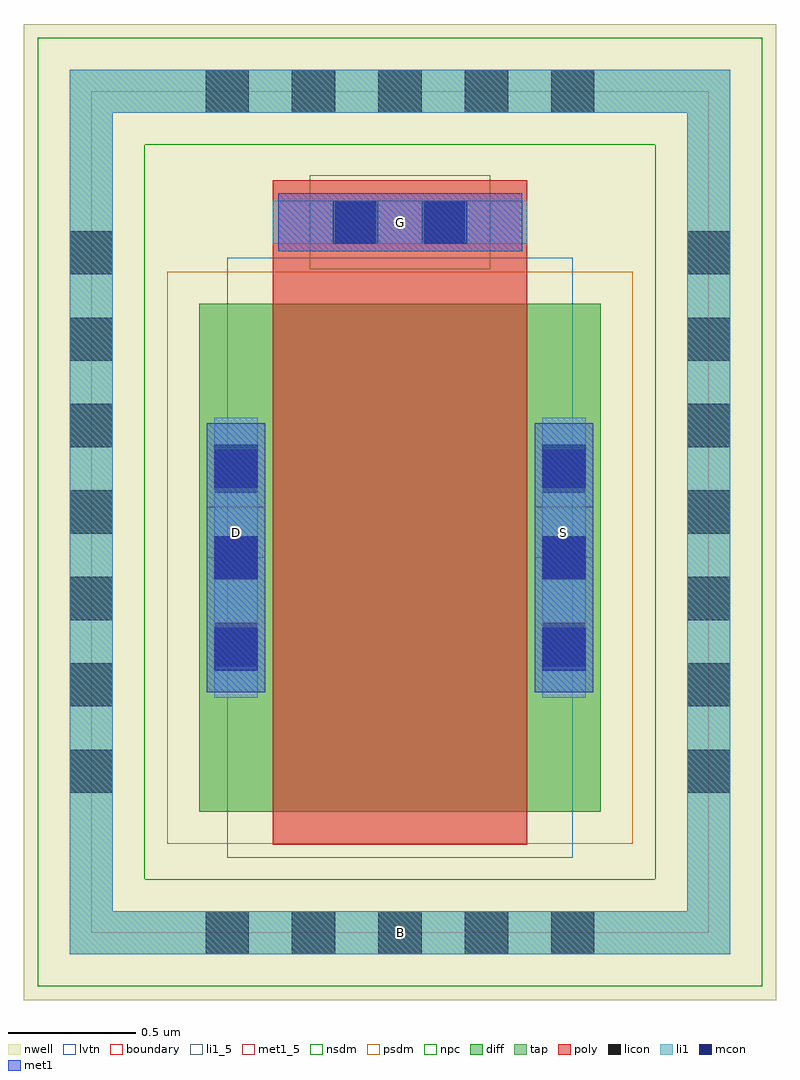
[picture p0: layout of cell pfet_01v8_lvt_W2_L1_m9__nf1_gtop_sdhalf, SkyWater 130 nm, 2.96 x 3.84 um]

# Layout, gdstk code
import gdstk
lib = gdstk.Library(unit=1e-6, precision=1e-09)
def R(c, l, rs):  # rectangles x0, y0, x1, y1
    for r in rs: c.add(gdstk.rectangle(r[:2], r[2:], *l))
def A(c, l, x, y, w, h, nx, ny, dx, dy):  # array of equal rectangles
    R(c, l, [(x+i*dx, y+j*dy, x+i*dx+w, y+j*dy+h) for i in range(nx) for j in range(ny)])
nwell = (64, 20)
diff = (65, 20)
tap = (65, 44)
poly = (66, 20)
licon = (66, 44)
li1_5 = (67, 5)
li1 = (67, 20)
mcon = (67, 44)
met1_5 = (68, 5)
met1 = (68, 20)
nsdm = (93, 44)
psdm = (94, 20)
npc = (95, 20)
lvtn = (125, 44)
boundary = (235, 4)

sky130_fd_pr__pfet_01v8_ = lib.new_cell('sky130_fd_pr__pfet_01v8_lvt_NWM626')
R(sky130_fd_pr__pfet_01v8_, nwell, [(-1.48,-1.92,1.48,1.92)])
R(sky130_fd_pr__pfet_01v8_, diff, [(-0.79,-1.18,0.79,0.82)])
R(sky130_fd_pr__pfet_01v8_, tap, [(-1.3,-1.74,1.3,-1.57), (-1.3,-1.57,-1.13,1.57), (1.13,-1.57,1.3,1.57), (-1.3,1.57,1.3,1.74)])
R(sky130_fd_pr__pfet_01v8_, poly, [(-0.5,-1.31,0.5,1.305)])
A(sky130_fd_pr__pfet_01v8_, licon, -0.765, -1.74, 0.17, 0.17, 5, 2, 0.34, 3.31)
A(sky130_fd_pr__pfet_01v8_, licon, -1.3, -1.105, 0.17, 0.17, 1, 7, 0, 0.34)
A(sky130_fd_pr__pfet_01v8_, licon, 1.13, -1.105, 0.17, 0.17, 1, 7, 0, 0.34)
A(sky130_fd_pr__pfet_01v8_, licon, -0.73, -0.605, 0.17, 0.17, 1, 3, 0, 0.34)
A(sky130_fd_pr__pfet_01v8_, licon, 0.56, -0.605, 0.17, 0.17, 1, 3, 0, 0.34)
R(sky130_fd_pr__pfet_01v8_, licon, [(-0.255,1.055,-0.085,1.225), (0.085,1.055,0.255,1.225)])
R(sky130_fd_pr__pfet_01v8_, li1, [(-1.3,-1.74,1.3,-1.57), (-1.3,-1.57,-1.13,1.57), (1.13,-1.57,1.3,1.57), (-0.73,-0.73,-0.56,0.37), (0.56,-0.73,0.73,0.37), (-0.5,1.055,0.5,1.225), (-1.3,1.57,1.3,1.74)])
A(sky130_fd_pr__pfet_01v8_, mcon, -0.73, -0.625, 0.17, 0.17, 1, 3, 0, 0.36)
A(sky130_fd_pr__pfet_01v8_, mcon, 0.56, -0.625, 0.17, 0.17, 1, 3, 0, 0.36)
R(sky130_fd_pr__pfet_01v8_, mcon, [(-0.265,1.055,-0.095,1.225), (0.095,1.055,0.265,1.225)])
R(sky130_fd_pr__pfet_01v8_, met1, [(-0.76,-0.71,-0.53,0.35), (0.53,-0.71,0.76,0.35), (-0.48,1.025,0.48,1.255)])
R(sky130_fd_pr__pfet_01v8_, nsdm, [(-1.425,-1.865,1.425,-1.445), (-1.425,-1.445,-1.005,1.445), (1.005,-1.445,1.425,1.445), (-1.425,1.445,1.425,1.865)])
R(sky130_fd_pr__pfet_01v8_, psdm, [(-0.915,-1.305,0.915,0.945)])
R(sky130_fd_pr__pfet_01v8_, npc, [(-0.355,0.955,0.355,1.325)])
R(sky130_fd_pr__pfet_01v8_, lvtn, [(-0.68,-1.36,0.68,1)])
R(sky130_fd_pr__pfet_01v8_, boundary, [(-1.215,-1.655,1.215,1.655)])
sky130_fd_pr__pfet_01v8_.add(gdstk.Label('B', (0,-1.655), layer=67, texttype=5))
sky130_fd_pr__pfet_01v8_.add(gdstk.Label('D', (-0.645,-0.18), layer=67, texttype=5))
sky130_fd_pr__pfet_01v8_.add(gdstk.Label('S', (0.645,-0.18), layer=67, texttype=5))
sky130_fd_pr__pfet_01v8_.add(gdstk.Label('G', (0,1.14), layer=67, texttype=5))

pfet_01v8_lvt_w2_l1_m9__ = lib.new_cell('pfet_01v8_lvt_W2_L1_m9__nf1_gtop_sdhalf')
R(pfet_01v8_lvt_w2_l1_m9__, li1_5, [(1.13,-0.085,1.3,0.085)])
R(pfet_01v8_lvt_w2_l1_m9__, li1, [(1.13,-0.085,1.3,0.085)])
R(pfet_01v8_lvt_w2_l1_m9__, met1_5, [(0.455,1.475,0.685,1.675), (1.745,1.475,1.975,1.675), (0.735,2.68,1.695,2.91)])
R(pfet_01v8_lvt_w2_l1_m9__, met1, [(0.455,1.475,0.685,1.675), (1.745,1.475,1.975,1.675), (0.735,2.68,1.695,2.91)])
pfet_01v8_lvt_w2_l1_m9__.add(gdstk.Reference(sky130_fd_pr__pfet_01v8_, (1.215,1.655)))
pfet_01v8_lvt_w2_l1_m9__.add(gdstk.Label('D', (0.57,1.575), layer=68, texttype=5))
pfet_01v8_lvt_w2_l1_m9__.add(gdstk.Label('S', (1.86,1.575), layer=68, texttype=5))
pfet_01v8_lvt_w2_l1_m9__.add(gdstk.Label('G', (1.215,2.795), layer=68, texttype=5))
pfet_01v8_lvt_w2_l1_m9__.add(gdstk.Label('B', (1.215,0), layer=67, texttype=5))

lib.write_gds('pfet_01v8_lvt_W2_L1_m9__nf1_gtop_sdhalf.gds')
